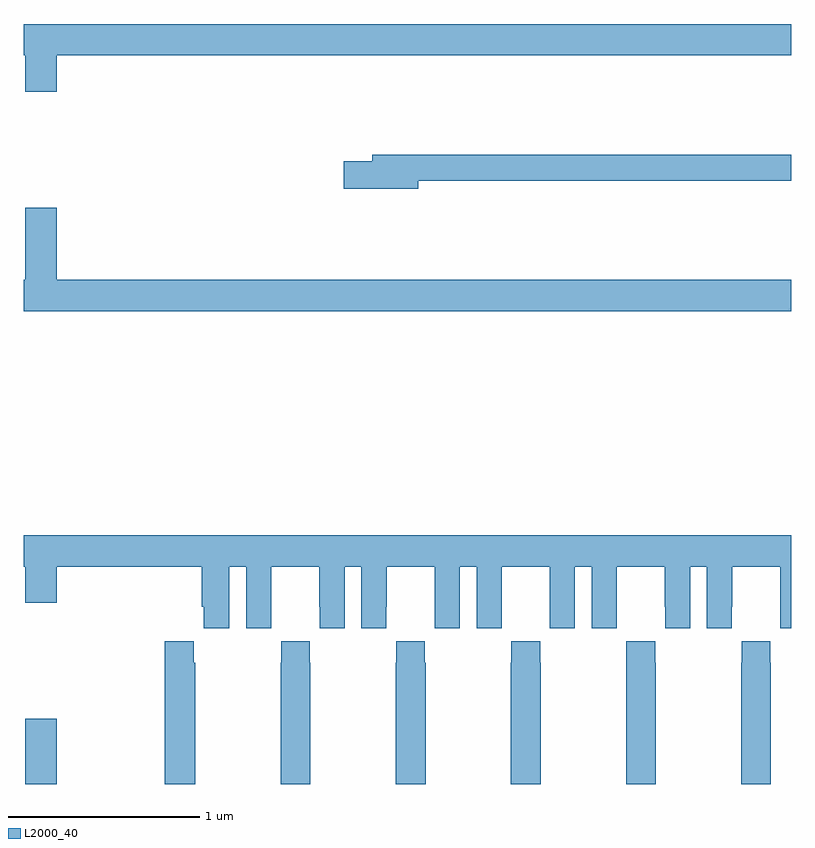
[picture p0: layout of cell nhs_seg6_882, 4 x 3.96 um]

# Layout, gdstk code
import gdstk
lib = gdstk.Library(unit=1e-6, precision=1e-09)
def R(c, l, rs):  # rectangles x0, y0, x1, y1
    for r in rs: c.add(gdstk.rectangle(r[:2], r[2:], *l))
def P(c, l, *ps):  # polygons
    for p in ps: c.add(gdstk.Polygon(p, *l))
L2000_40 = (2000, 40)

nhs_seg6_882 = lib.new_cell('nhs_seg6_882')
R(nhs_seg6_882, L2000_40, [(165.008,983.5,165.172,983.839)])
P(nhs_seg6_882, L2000_40, [(165.172,987.296),(169,987.296),(169,987.46),(165,987.46),(165,987.296),(165.008,987.296),(165.008,987.108),(165.172,987.108)],
  [(167.056,986.644),(169,986.644),(169,986.78),(166.817,986.78),(166.817,986.744),(166.668,986.744),(166.668,986.602),(167.056,986.602)],
  [(169,986.128),(165.172,986.128),(165.172,986.503),(165.008,986.503),(165.008,986.128),(165,986.128),(165,985.964),(169,985.964)],
  [(165,984.632),(165.008,984.632),(165.008,984.444),(165.172,984.444),(165.172,984.632),(165.929,984.632),(165.929,984.424),(165.938,984.424),(165.938,984.312),(166.072,984.312),(166.072,984.632),(166.16,984.632),(166.16,984.312),(166.29,984.312),(166.29,984.424),(166.291,984.424),(166.291,984.632),(166.541,984.632),(166.541,984.424),(166.542,984.424),(166.542,984.312),(166.672,984.312),(166.672,984.632),(166.76,984.632),(166.76,984.312),(166.89,984.312),(166.89,984.424),(166.891,984.424),(166.891,984.632),(167.141,984.632),(167.141,984.424),(167.142,984.424),(167.142,984.312),(167.272,984.312),(167.272,984.632),(167.36,984.632),(167.36,984.312),(167.49,984.312),(167.49,984.424),(167.491,984.424),(167.491,984.632),(167.741,984.632),(167.741,984.424),(167.742,984.424),(167.742,984.312),(167.872,984.312),(167.872,984.632),(167.96,984.632),(167.96,984.312),(168.09,984.312),(168.09,984.424),(168.091,984.424),(168.091,984.632),(168.341,984.632),(168.341,984.424),(168.342,984.424),(168.342,984.312),(168.472,984.312),(168.472,984.632),(168.56,984.632),(168.56,984.312),(168.69,984.312),(168.69,984.424),(168.691,984.424),(168.691,984.632),(168.941,984.632),(168.941,984.424),(168.942,984.424),(168.942,984.312),(169,984.312),(169,984.796),(165,984.796)],
  [(165.894,984.131),(165.887,984.131),(165.887,984.244),(165.734,984.244),(165.734,983.5),(165.894,983.5)],
  [(167.094,984.131),(167.091,984.131),(167.091,984.244),(166.941,984.244),(166.941,984.131),(166.939,984.131),(166.939,983.5),(167.094,983.5)],
  [(166.494,984.131),(166.491,984.131),(166.491,984.244),(166.341,984.244),(166.341,984.131),(166.339,984.131),(166.339,983.5),(166.494,983.5)],
  [(168.894,984.131),(168.891,984.131),(168.891,984.244),(168.741,984.244),(168.741,984.131),(168.739,984.131),(168.739,983.5),(168.894,983.5)],
  [(168.294,984.131),(168.291,984.131),(168.291,984.244),(168.141,984.244),(168.141,984.131),(168.139,984.131),(168.139,983.5),(168.294,983.5)],
  [(167.694,984.131),(167.691,984.131),(167.691,984.244),(167.541,984.244),(167.541,984.131),(167.539,984.131),(167.539,983.5),(167.694,983.5)])

lib.write_gds('nhs_seg6_882.gds')
